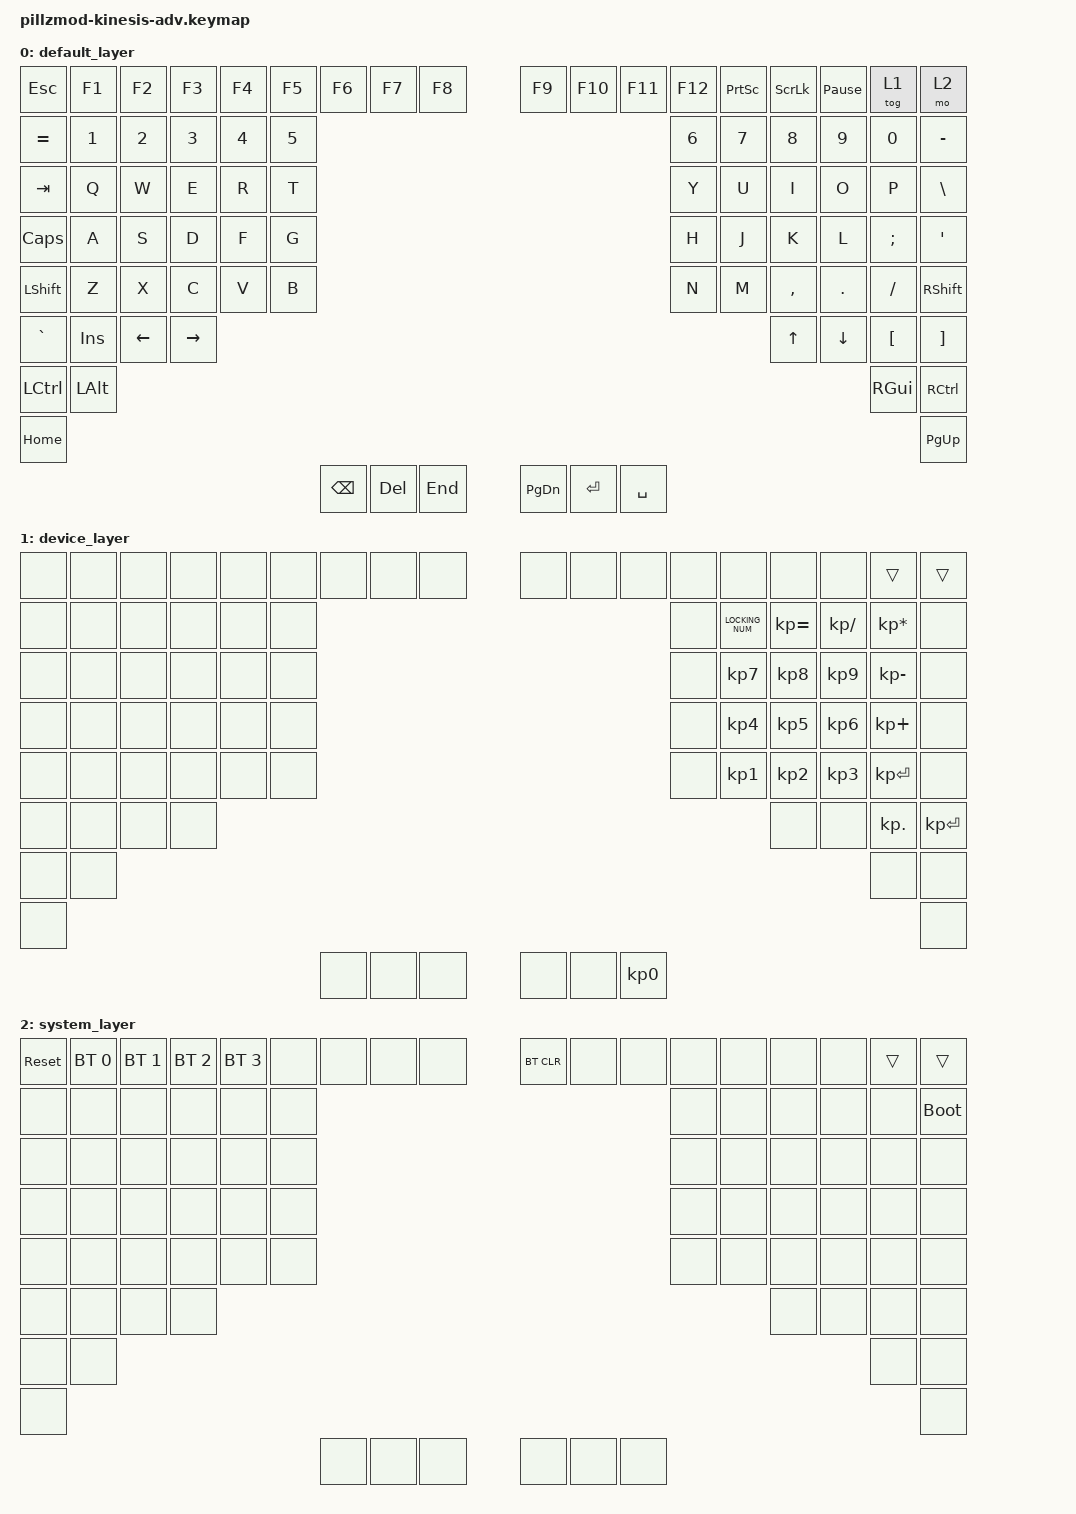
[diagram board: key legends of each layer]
/*
 * Copyright (c) 2020 The ZMK Contributors
 *
 * SPDX-License-Identifier: MIT
 */

#include <behaviors.dtsi>
#include <dt-bindings/zmk/keys.h>
#include <dt-bindings/zmk/backlight.h>
#include <dt-bindings/zmk/bt.h>
#include <dt-bindings/zmk/outputs.h>


/ {
    keymap {
        compatible = "zmk,keymap";

        default_layer {
            bindings = <
    &kp ESC     &kp F1        &kp F2        &kp F3        &kp F4        &kp F5  &kp F6  &kp F7  &kp F8  &kp F9      &kp F10  &kp F11  &kp F12  &kp PSCRN  &kp SLCK  &kp PAUSE_BREAK  &tog 1  &mo 2
    &kp EQUAL       &kp N1  &kp N2  &kp N3  &kp N4  &kp N5                        &kp N6  &kp N7           &kp N8        &kp N9        &kp N0           &kp MINUS
    &kp TAB         &kp Q   &kp W   &kp E   &kp R   &kp T                         &kp Y   &kp U            &kp I         &kp O         &kp P            &kp BACKSLASH
    &kp CAPSLOCK    &kp A   &kp S   &kp D   &kp F   &kp G                         &kp H   &kp J            &kp K         &kp L         &kp SEMICOLON    &kp SINGLE_QUOTE
    &kp LEFT_SHIFT  &kp Z   &kp X   &kp C   &kp V   &kp B                         &kp N   &kp M            &kp COMMA     &kp DOT       &kp SLASH        &kp RIGHT_SHIFT
                    &kp GRAVE  &kp INSERT  &kp LEFT  &kp RIGHT                                &kp UP  &kp DOWN  &kp LEFT_BRACKET  &kp RIGHT_BRACKET
                                            &kp LEFT_CONTROL  &kp LEFT_ALT                                                               &kp RIGHT_GUI  &kp RIGHT_CONTROL
                                                    &kp HOME                                                                                              &kp PAGE_UP
                                    &kp BACKSPACE  &kp DELETE  &kp END                                                     &kp PAGE_DOWN  &kp ENTER  &kp SPACE
            >;
        };

        device_layer {
            bindings = <
    &none       &none         &none         &none         &none         &none   &none   &none   &none   &none       &none    &none    &none    &none      &none     &none            &trans  &trans
    &none           &none   &none   &none   &none   &none                         &none   &kp LOCKING_NUM  &kp KP_EQUAL  &kp KP_SLASH  &kp KP_ASTERISK  &none
    &none           &none   &none   &none   &none   &none                         &none   &kp KP_N7        &kp KP_N8     &kp KP_N9     &kp KP_MINUS     &none
    &none           &none   &none   &none   &none   &none                         &none   &kp KP_N4        &kp KP_N5     &kp KP_N6     &kp KP_PLUS      &none
    &none           &none   &none   &none   &none   &none                         &none   &kp KP_N1        &kp KP_N2     &kp KP_N3     &kp KP_ENTER     &none
                    &none      &none       &none     &none                                    &none   &none     &kp KP_DOT        &kp KP_ENTER
                                            &none             &none                                                                      &none          &none
                                                    &none                                                                                                 &none
                                    &none          &none       &none                                                       &none          &none      &kp KP_N0
            >;
        };

        system_layer {
            bindings = <
    &sys_reset  &bt BT_SEL 0  &bt BT_SEL 1  &bt BT_SEL 2  &bt BT_SEL 3  &none   &none   &none   &none   &bt BT_CLR  &none    &none    &none    &none      &none     &none            &trans  &trans
    &none           &none   &none   &none   &none   &none                         &none   &none            &none         &none         &none            &bootloader
    &none           &none   &none   &none   &none   &none                         &none   &none            &none         &none         &none            &none
    &none           &none   &none   &none   &none   &none                         &none   &none            &none         &none         &none            &none
    &none           &none   &none   &none   &none   &none                         &none   &none            &none         &none         &none            &none
                    &none      &none       &none     &none                                    &none   &none     &none             &none
                                            &none             &none                                                                      &none          &none
                                                    &none                                                                                                 &none
                                    &none          &none       &none                                                       &none          &none      &none
            >;
        };

    };
};
